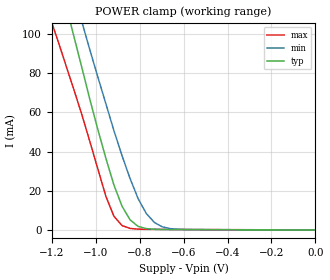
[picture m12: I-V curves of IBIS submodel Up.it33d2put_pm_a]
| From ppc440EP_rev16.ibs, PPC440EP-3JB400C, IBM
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[Submodel]  Up.it33d2put_pm_a
Submodel_type   Dynamic_clamp
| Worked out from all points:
|   POWER clamp passes 1 mA (typ) near -0.78 V on its own axis
[POWER Clamp]   | Note: Vtable = Vcc - Vout
| Voltage   I(typ)   I(min)   I(max)
-3.6V     1.178A     1.06A      981.5mA
-1.21V    148.6mA    163.6mA    109.1mA
-1.173V   132.1mA    149.3mA    97mA
-1.1V     99.23mA    120.6mA    71.95mA
-1.063V   82.95mA    106.4mA    58.91mA
-1.027V   66.89mA    92.15mA    45.37mA
-917mV    22.98mA    50.75mA    7.01mA
-843mV    5.124mA    26.11mA    780uA
-770mV    705uA      8.479mA    335uA
-733mV    365uA      3.845mA    304uA
-623mV    208uA      339uA      254uA
0V        1uA        1uA        1uA
